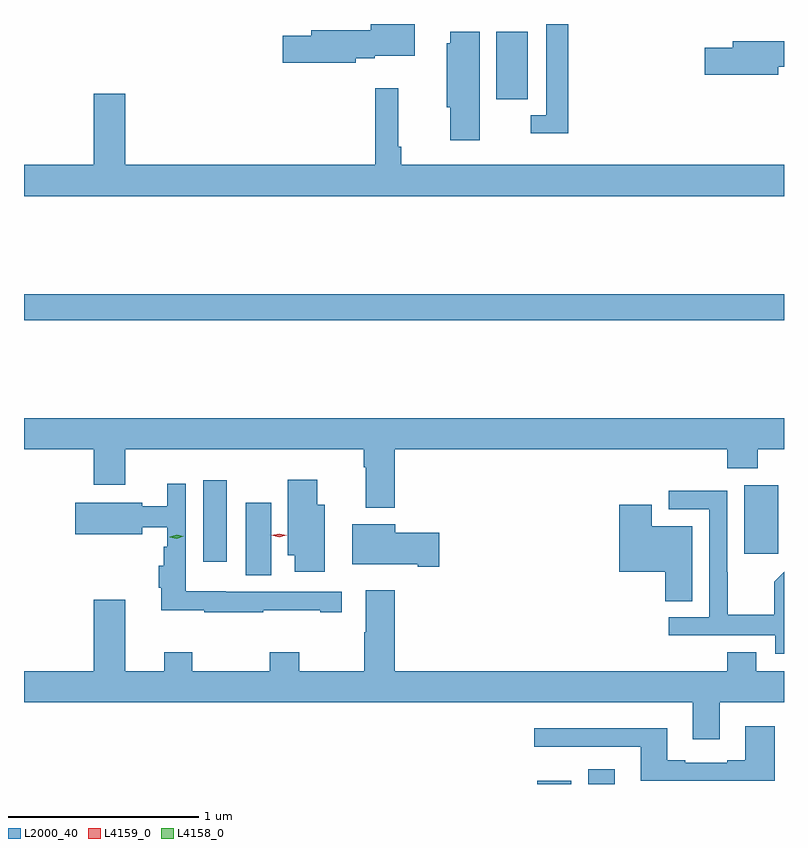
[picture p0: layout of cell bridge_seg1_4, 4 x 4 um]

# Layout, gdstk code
import gdstk
lib = gdstk.Library(unit=1e-6, precision=1e-09)
def R(c, l, rs):  # rectangles x0, y0, x1, y1
    for r in rs: c.add(gdstk.rectangle(r[:2], r[2:], *l))
def P(c, l, *ps):  # polygons
    for p in ps: c.add(gdstk.Polygon(p, *l))
L2000_40 = (2000, 40)
L4158_0 = (4158, 0)
L4159_0 = (4159, 0)

bridge_seg1_4 = lib.new_cell('bridge_seg1_4')
R(bridge_seg1_4, L2000_40, [(646.862,548.638,647.041,548.656), (647.129,548.638,647.269,548.716), (645.326,549.736,645.46,550.117), (645.104,549.807,645.226,550.237), (647.951,549.849,648.13,550.21), (644.16,551.08,648.16,551.216), (646.646,552.243,646.81,552.596)])
P(bridge_seg1_4, L2000_40, [(647.024,552.638),(646.908,552.638),(646.908,552.159),(646.827,552.159),(646.827,552.062),(647.024,552.062)],
  [(645.906,552.458),(646.006,552.458),(646.006,552.47),(646.216,552.47),(646.216,552.638),(645.986,552.638),(645.986,552.606),(645.671,552.606),(645.671,552.576),(645.522,552.576),(645.522,552.434),(645.906,552.434)],
  [(646.558,552.596),(646.403,552.596),(646.403,552.537),(646.385,552.537),(646.385,552.201),(646.403,552.201),(646.403,552.027),(646.558,552.027)],
  [(648.13,552.412),(648.16,552.412),(648.16,552.548),(647.891,552.548),(647.891,552.512),(647.742,552.512),(647.742,552.37),(648.13,552.37)],
  [(648.16,551.896),(646.145,551.896),(646.145,551.992),(646.13,551.992),(646.13,552.301),(646.009,552.301),(646.009,551.896),(644.692,551.896),(644.692,552.271),(644.528,552.271),(644.528,551.896),(644.16,551.896),(644.16,551.732),(648.16,551.732)],
  [(646.112,550.4),(647.861,550.4),(647.861,550.301),(648.021,550.301),(648.021,550.4),(648.16,550.4),(648.16,550.564),(644.16,550.564),(644.16,550.4),(644.528,550.4),(644.528,550.212),(644.692,550.212),(644.692,550.4),(645.947,550.4),(645.947,550.304),(645.959,550.304),(645.959,550.091),(646.112,550.091)],
  [(645.742,550.108),(645.703,550.108),(645.703,550.24),(645.548,550.24),(645.548,549.842),(645.584,549.842),(645.584,549.756),(645.742,549.756)],
  [(645.419,549.553),(645.719,549.553),(645.719,549.543),(645.832,549.543),(645.832,549.651),(645.222,549.651),(645.222,549.652),(645.012,549.652),(645.012,550.219),(644.915,550.219),(644.915,550.099),(644.782,550.099),(644.782,550.117),(644.43,550.117),(644.43,549.952),(644.782,549.952),(644.782,549.989),(644.915,549.989),(644.915,549.888),(644.896,549.888),(644.896,549.787),(644.87,549.787),(644.87,549.671),(644.882,549.671),(644.882,549.553),(645.109,549.553),(645.109,549.543),(645.419,549.543)],
  [(648.16,549.754),(648.109,549.703),(648.109,549.529),(647.865,549.529),(647.865,549.752),(647.862,549.752),(647.862,550.182),(647.553,550.182),(647.553,550.083),(647.766,550.083),(647.766,549.516),(647.553,549.516),(647.553,549.42),(648.114,549.42),(648.114,549.323),(648.16,549.323)],
  [(647.677,549.994),(647.464,549.994),(647.464,550.108),(647.294,550.108),(647.294,549.755),(647.534,549.755),(647.534,549.601),(647.677,549.601)],
  [(646.345,549.96),(646.114,549.96),(646.114,550.006),(645.887,550.006),(645.887,549.794),(646.232,549.794),(646.232,549.782),(646.345,549.782)],
  [(647.861,549.331),(647.861,549.232),(646.112,549.232),(646.112,549.658),(645.959,549.658),(645.959,549.437),(645.952,549.437),(645.952,549.232),(645.609,549.232),(645.609,549.331),(645.454,549.331),(645.454,549.232),(645.045,549.232),(645.045,549.331),(644.897,549.331),(644.897,549.232),(644.692,549.232),(644.692,549.607),(644.528,549.607),(644.528,549.232),(644.16,549.232),(644.16,549.068),(647.681,549.068),(647.681,548.874),(647.821,548.874),(647.821,549.068),(648.16,549.068),(648.16,549.232),(648.013,549.232),(648.013,549.331)],
  [(648.11,548.941),(647.957,548.941),(647.957,548.764),(647.861,548.764),(647.861,548.751),(647.641,548.751),(647.641,548.764),(647.545,548.764),(647.545,548.932),(646.845,548.932),(646.845,548.835),(647.405,548.835),(647.405,548.654),(648.11,548.654)])
P(bridge_seg1_4, L4158_0, [(644.964,549.93),(644.928,549.938),(644.928,549.938),(644.928,549.939),(644.964,549.95),(645,549.942),(645,549.942),(645,549.942)])
P(bridge_seg1_4, L4159_0, [(645.503,549.936),(645.461,549.946),(645.461,549.946),(645.461,549.946),(645.503,549.956),(645.544,549.946),(645.544,549.946),(645.544,549.946)])

lib.write_gds('bridge_seg1_4.gds')
